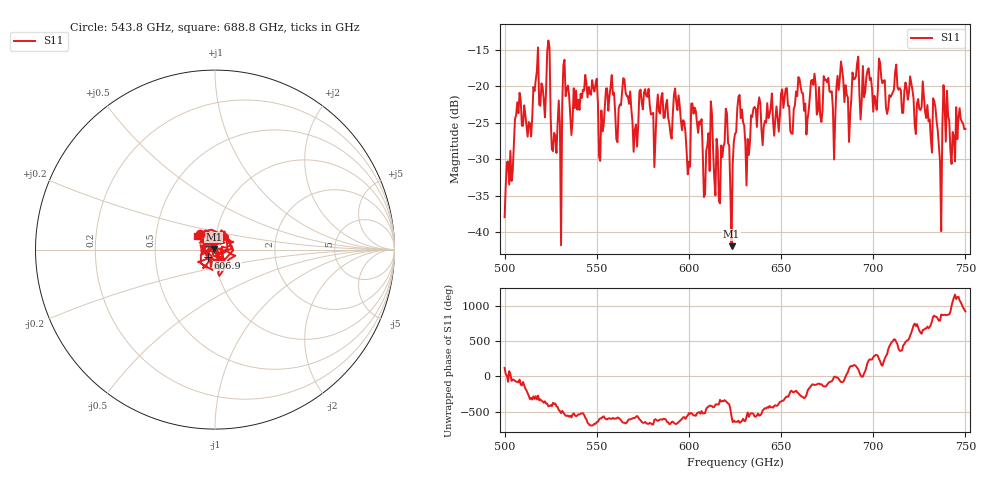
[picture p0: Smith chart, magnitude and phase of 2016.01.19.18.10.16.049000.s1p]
!Created with skrf (http://scikit-rf.org).
# GHz S RI R 50.0
!freq ReS11 ImS11
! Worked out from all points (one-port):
!   401 points, 500 GHz to 750 GHz, reference 50 ohm
!   lowest |S11| = -42.0 dB at 623.1 GHz (marker M1), VSWR 1.02, Z = 49.3 + j0.39 ohm
!   |S11| at or under -10 dB: start of sweep to end of sweep
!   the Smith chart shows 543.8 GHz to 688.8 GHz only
!   S11 on the Smith chart (normalised r, x): 543.8 GHz: 0.84, +0.15; 606.9 GHz: 0.92, -0.08; 688.8 GHz: 0.81, +0.13
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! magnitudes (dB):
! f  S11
! 500 GHz  -38.0
! 506.9 GHz  -22.2
! 513.8 GHz  -25.1
! 516.9 GHz  -19.1
! 523.8 GHz  -13.7
! 526.9 GHz  -26.4
! 531.2 GHz  -22.5
! 533.1 GHz  -21.3
! 543.8 GHz  -18.4
! 552.5 GHz  -23.3
! 562.5 GHz  -22.5
! 593.8 GHz  -23.2
! 599.4 GHz  -32.1
! 602.5 GHz  -23.7
! 606.9 GHz  -24.5
! 615.6 GHz  -28.8
! 620.6 GHz  -23.7
! 623.1 GHz  -42.0
! 625 GHz  -26.5
! 656.2 GHz  -26.5
! 667.5 GHz  -19.8
! 687.5 GHz  -23.9
! 688.8 GHz  -18.1
! 718.8 GHz  -21.8
! 733.8 GHz  -22.9
! 736.2 GHz  -30.4
! 739.4 GHz  -27.6
! 750 GHz  -25.9
